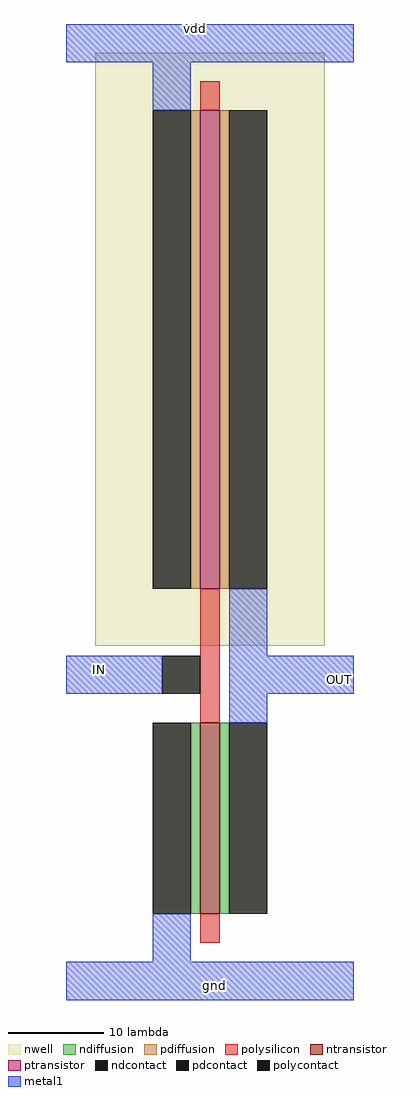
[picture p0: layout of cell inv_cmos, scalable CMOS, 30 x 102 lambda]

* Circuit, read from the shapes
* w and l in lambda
.subckt inv_cmos IN OUT gnd vdd
M1 OUT IN gnd VSUBS nfet w=20 l=2
M2 OUT IN vdd n1 pfet w=50 l=2
.ends

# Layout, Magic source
magic
tech scmos
<< nwell >>
rect 0 0 24 62
<< ntransistor >>
rect 11 -28 13 -8
<< ptransistor >>
rect 11 6 13 56
<< ndiffusion >>
rect 10 -28 11 -8
rect 13 -28 14 -8
<< pdiffusion >>
rect 10 6 11 56
rect 13 6 14 56
<< ndcontact >>
rect 6 -28 10 -8
rect 14 -28 18 -8
<< pdcontact >>
rect 6 6 10 56
rect 14 6 18 56
<< polysilicon >>
rect 11 56 13 59
rect 11 -8 13 6
rect 11 -31 13 -28
<< polycontact >>
rect 7 -5 11 -1
<< metal1 >>
rect -3 61 27 65
rect 6 56 10 61
rect 14 -1 18 6
rect -3 -5 7 -1
rect 14 -5 27 -1
rect 14 -8 18 -5
rect 6 -33 10 -28
rect -3 -37 27 -33
<< labels >>
rlabel metal1 10 64 11 65 5 vdd
rlabel metal1 12 -36 13 -35 1 gnd
rlabel metal1 25 -4 26 -3 7 OUT
rlabel metal1 0 -3 1 -2 3 IN
<< end >>
